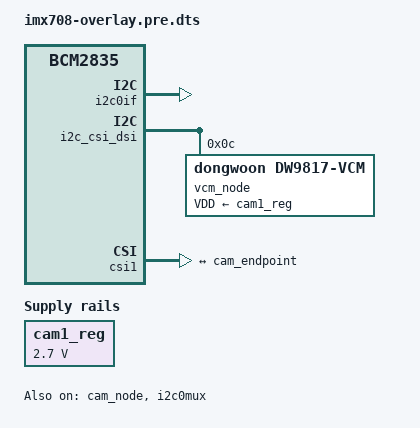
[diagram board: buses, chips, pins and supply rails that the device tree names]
# 0 "imx708-overlay.dts"
# 0 "<built-in>"
# 0 "<command-line>"
# 1 "imx708-overlay.dts"


/dts-v1/;
/plugin/;

# 1 "inc/dt-bindings/gpio/gpio.h" 1
# 7 "imx708-overlay.dts" 2

/{
 compatible = "brcm,bcm2835";

 fragment@0 {
  target = <&i2c0if>;
  __overlay__ {
   status = "okay";
  };
 };

 clk_frag: fragment@1 {
  target = <&cam1_clk>;
  __overlay__ {
   status = "okay";
   clock-frequency = <24000000>;
  };
 };

 fragment@2 {
  target = <&i2c0mux>;
  __overlay__ {
   status = "okay";
  };
 };

 reg_frag: fragment@3 {
  target = <&cam1_reg>;
  cam_reg: __overlay__ {
   startup-delay-us = <70000>;
   off-on-delay-us = <30000>;
   regulator-min-microvolt = <2700000>;
   regulator-max-microvolt = <2700000>;
  };
 };

 fragment@4 {
  target = <&cam_node>;
  __overlay__ {
   lens-focus = <&vcm_node>;
  };
 };

 i2c_frag: fragment@100 {
  target = <&i2c_csi_dsi>;
  __overlay__ {
   #address-cells = <1>;
   #size-cells = <0>;
   status = "okay";

# 1 "imx708.dtsi" 1


cam_node: imx708@1a {
 compatible = "sony,imx708";
 reg = <0x1a>;
 status = "disabled";

 clocks = <&cam1_clk>;
 clock-names = "xclk";

 VANA1-supply = <&cam1_reg>;
 VANA2-supply = <&cam_dummy_reg>;
 VDIG-supply = <&cam_dummy_reg>;
 VDDL-supply = <&cam_dummy_reg>;

 rotation = <180>;
 orientation = <2>;

 port {
  cam_endpoint: endpoint {
   clock-lanes = <0>;
   data-lanes = <1 2>;
   clock-noncontinuous;
   link-frequencies =
    /bits/ 64 <450000000>;
  };
 };
};

vcm_node: dw9817@c {
 compatible = "dongwoon,dw9817-vcm";
 reg = <0x0c>;
 status = "disabled";
 VDD-supply = <&cam1_reg>;
};
# 58 "imx708-overlay.dts" 2
  };
 };

 csi_frag: fragment@101 {
  target = <&csi1>;
  csi: __overlay__ {
   status = "okay";
   brcm,media-controller;

   port {
    csi_ep: endpoint {
     remote-endpoint = <&cam_endpoint>;
     clock-lanes = <0>;
     data-lanes = <1 2>;
     clock-noncontinuous;
    };
   };
  };
 };

 __overrides__ {
  rotation = <&cam_node>,"rotation:0";
  orientation = <&cam_node>,"orientation:0";
  media-controller = <&csi>,"brcm,media-controller?";
  cam0 = <&i2c_frag>, "target:0=",<&i2c_vc>,
         <&csi_frag>, "target:0=",<&csi0>,
         <&clk_frag>, "target:0=",<&cam0_clk>,
         <&reg_frag>, "target:0=",<&cam0_reg>,
         <&cam_node>, "clocks:0=",<&cam0_clk>,
         <&cam_node>, "VANA1-supply:0=",<&cam0_reg>,
         <&vcm_node>, "VDD-supply:0=",<&cam0_reg>;
  vcm = <&vcm_node>, "status",
        <0>, "=4";
 };
};

&cam_node {
 status = "okay";
};

&cam_endpoint {
 remote-endpoint = <&csi_ep>;
};

&vcm_node {
 status = "okay";
};
